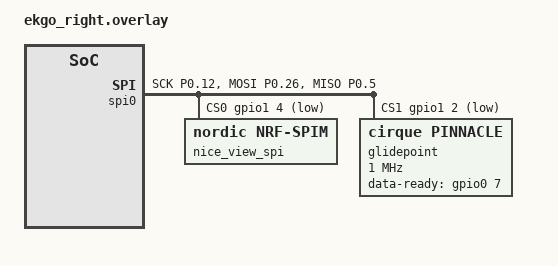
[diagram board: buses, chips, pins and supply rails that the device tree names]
/*
 * Copyright (c) 2020 The ZMK Contributors
 *
 * SPDX-License-Identifier: MIT
 */
#include <zephyr/dt-bindings/input/input-event-codes.h>
#include "ekgo.dtsi"

&ekgo_transform {
    col-offset = <6>;
};



&kscan0 {
    col-gpios
        = <&pro_micro 19 GPIO_ACTIVE_HIGH>
		, <&pro_micro 18 GPIO_ACTIVE_HIGH>
		, <&pro_micro 15 GPIO_ACTIVE_HIGH>
		, <&pro_micro 14 GPIO_ACTIVE_HIGH>
		, <&pro_micro 16 GPIO_ACTIVE_HIGH>
        , <&pro_micro 10 GPIO_ACTIVE_HIGH>
        ;
};


&pinctrl {
    spi0_default: spi0_default {
        group1 {
            psels = <NRF_PSEL(SPIM_SCK,  0, 12)>,
                    <NRF_PSEL(SPIM_MOSI, 0, 26)>,
                    <NRF_PSEL(SPIM_MISO, 0, 5)>; 
        };
    };
    spi0_sleep: spi0_sleep {
        group1 {
            psels = <NRF_PSEL(SPIM_SCK,  0, 12)>,  
                    <NRF_PSEL(SPIM_MOSI, 0, 26)>,
                    <NRF_PSEL(SPIM_MISO, 0, 5)>; 
            low-power-enable;
        };
    };
};



&pro_micro_i2c {
    status = "disabled";
};

&spi0 {
    status = "okay";
    compatible = "nordic,nrf-spim";
    pinctrl-0 = <&spi0_default>;
    pinctrl-1 = <&spi0_sleep>;
    pinctrl-names = "default", "sleep";
    cs-gpios = <&gpio1 4 GPIO_ACTIVE_LOW>, // nice view
               <&gpio1 2 GPIO_ACTIVE_LOW>; // trackball
    
    nice_view_spi: nice_view_spi@0 {
        status = "okay";
        compatible = "nordic,nrf-spim"; // Verify if this should be the display driver instead
        reg = <0>;
    };

    glidepoint: glidepoint@0 {
        compatible = "cirque,pinnacle";
        reg = <1>;
        spi-max-frequency = <1000000>;  /* 1 MHz safe starting point */
        status = "okay";
        data-ready-gpios = <&gpio0 7 GPIO_ACTIVE_HIGH>; 
        primary-tap-enable;
        sensitivity = "1x";  /* Optional: adjust tracking sensitivity */
        invert-x;
        sleep-mode-enable;
        //swap-90; //<--error
        /* no-taps; */             /* Optional: disable tap gestures if undesired */
        /* tap-enable; scroll-enable; */  /* Enable as desired */
    };
};


&glidepoint_split {
    device = <&glidepoint>;
};
